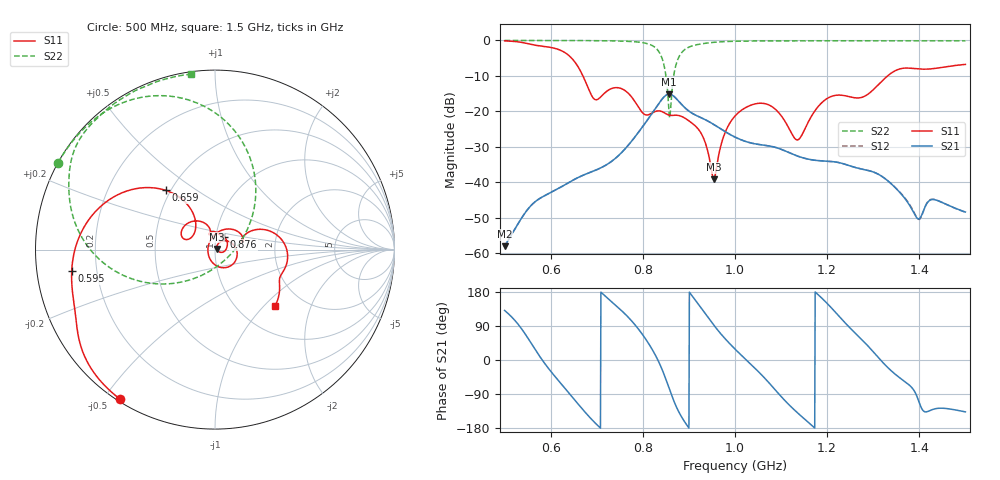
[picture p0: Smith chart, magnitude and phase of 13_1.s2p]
! TOUCHSTONE file generated by CST MICROWAVE STUDIO
! Date and time: Mon Oct 26 12:06:13 2020
! Project name: Scenario_1_Circular_Tissue_out_of_Line_v2.cst
! Parameters = {dy1=-138.4; L_HA=400; MT=2.54; Rad_Dielectric=30; Rad_Lower=7.3; Rad_Upper=30; a_HA=580; a_WG=246; b_HA=500; b_WG=121; c_HA=0; c_WG=187; d_feed=85; dx1=173; h_feed=15; h_lower=18; h_upper=40}
! Header version: 2018
! Port assignment regex: !\s*Touchstone port\s*([0-9]+)\s*=\s*(CST MWS port|CST DS port)\s*([0-9]+|Zmin|Zmax)\s*\(\"(.*)\"\)(\s*mode\s*([0-9]+))?.*
! Touchstone port assignment:
! Touchstone port 1 = CST MWS port 1 ("")
! Touchstone port 2 = CST MWS port 2 ("")
# GHz S DB R 50
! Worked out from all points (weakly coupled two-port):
!   1003 points, 500 MHz to 1.5 GHz, reference 50 ohm
!   highest |S21| = -15.15 dB at 857 MHz (marker M1); lowest = -58.1 dB at 500 MHz (marker M2)
!   lowest |S11| = -39.2 dB at 954 MHz (marker M3), VSWR 1.02, Z = 51.1 + j0.31 ohm
!   |S11| at or under -10 dB: 669.9 MHz to 1.331 GHz (661.4 MHz wide, 66.1 % of centre)
!   |S22| runs from -21.9 to 0.0 dB; largest |S21 - S12| = 0.00018
!   S11 on the Smith chart (normalised r, x): 500 MHz: 0.01, -0.55; 595 MHz: 0.11, -0.07; 659 MHz: 0.47, +0.38; 876 MHz: 1.09, +0.16; 1.5 GHz: 1.45, -1.16
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0.5  -0.12 -122.6  -58.05 130.8  -58.05 130.8  -0.01 151.1
0.595  -1.86 -171.4  -43.27 -21.9  -43.27 -21.9  -0.02 144.5
0.659  -7.34 129.8  -38.71 -115.4  -38.71 -115.4  -0.04 139.1
0.667  -9.22 123.8  -38.23 -126.9  -38.22 -126.9  -0.04 138.4
0.696  -16.67 142.3  -36.69 -165.6  -36.69 -165.6  -0.07 135.3
0.743  -13.32 144.6  -32.98 142.3  -32.98 142.3  -0.15 128.8
0.78  -16.73 108.1  -27.70 97.1  -27.70 97.1  -0.35 120.5
0.834  -19.87 98.8  -17.92 -3.7  -17.92 -3.7  -3.02 84.2
0.846  -20.36 84.6  -15.93 -37.9  -15.93 -37.9  -7.04 59.6
0.857  -21.09 75.3  -15.15 -74.7  -15.15 -74.7  -20.57 -13.9
0.876  -21.14 54.7  -16.90 -132.0  -16.90 -132.0  -5.31 -165.4
0.925  -25.89 -12.9  -21.72 139.7  -21.72 139.6  -1.01 156.2
0.954  -39.20 16.1  -23.72 91.9  -23.72 91.9  -0.53 148.6
0.976  -26.85 58.8  -25.53 59.6  -25.53 59.7  -0.34 144.2
1  -21.34 33.2  -27.28 28.9  -27.28 28.9  -0.23 140.4
1.071  -18.07 -47.3  -29.71 -56.5  -29.71 -56.5  -0.15 132.2
1.135  -28.07 178.0  -32.59 -138.6  -32.60 -138.6  -0.11 126.8
1.167  -21.15 88.0  -33.69 -172.9  -33.69 -172.9  -0.10 124.2
1.334  -9.71 18.0  -39.87 -22.8  -39.85 -22.7  -0.09 111.6
1.398  -8.05 -19.6  -50.39 -106.1  -50.44 -103.0  -0.09 106.5
1.427  -8.00 -25.6  -44.92 -131.5  -44.80 -130.2  -0.09 104.2
1.5  -6.76 -43.3  -48.41 -136.9  -48.47 -136.7  -0.12 97.8
